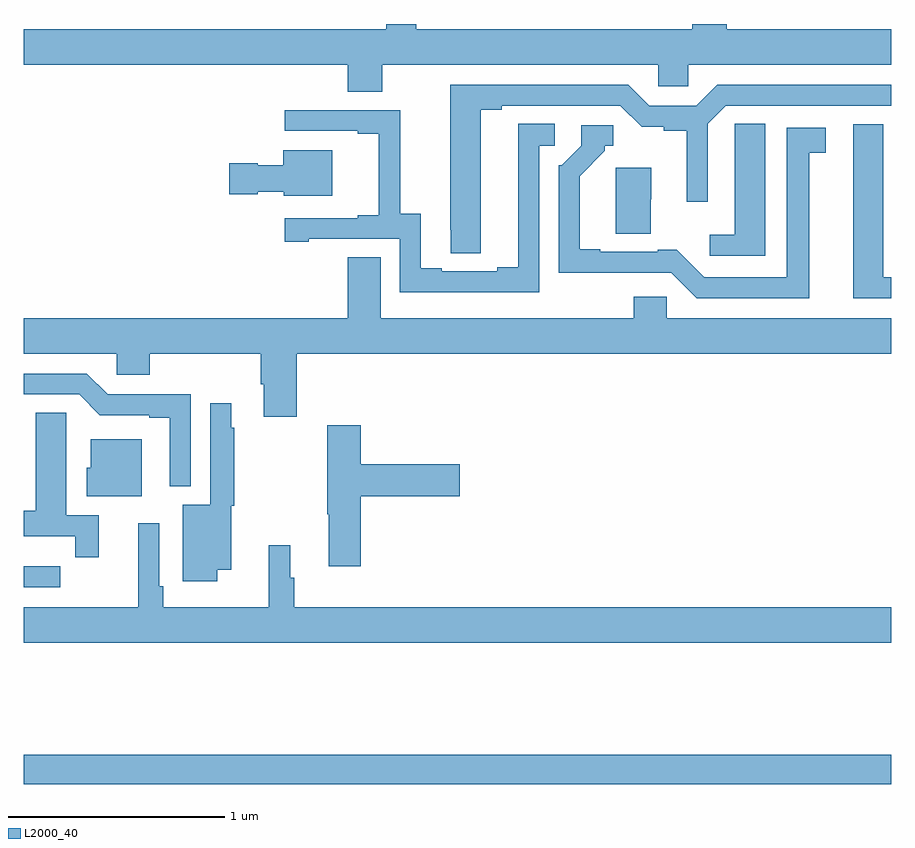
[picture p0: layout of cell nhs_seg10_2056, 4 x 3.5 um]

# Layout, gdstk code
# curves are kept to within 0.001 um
import gdstk
lib = gdstk.Library(unit=1e-6, precision=1e-09)
def R(c, l, rs):  # rectangles x0, y0, x1, y1
    for r in rs: c.add(gdstk.rectangle(r[:2], r[2:], *l))
def P(c, l, *ps):  # polygons
    for p in ps: c.add(gdstk.Polygon(p, *l))
L2000_40 = (2000, 40)

nhs_seg10_2056 = lib.new_cell('nhs_seg10_2056')
R(nhs_seg10_2056, L2000_40, [(219,1300.996,223,1301.132)])
P(nhs_seg10_2056, L2000_40, [(220.653,1304.312),(221.925,1304.312),(221.925,1304.214),(222.063,1304.214),(222.063,1304.312),(223,1304.312),(223,1304.476),(222.242,1304.476),(222.242,1304.5),(222.082,1304.5),(222.082,1304.476),(220.809,1304.476),(220.809,1304.5),(220.671,1304.5),(220.671,1304.476),(219,1304.476),(219,1304.312),(220.493,1304.312),(220.493,1304.188),(220.653,1304.188)],
  [(221.107,1304.104),(221.203,1304.104),(221.203,1304.124),(221.751,1304.124),(221.849,1304.027),(221.952,1304.027),(221.952,1304.008),(222.056,1304.008),(222.056,1303.68),(222.153,1303.68),(222.153,1304.04),(222.237,1304.124),(223,1304.124),(223,1304.22),(222.197,1304.22),(222.101,1304.124),(221.883,1304.124),(221.787,1304.22),(220.967,1304.22),(220.968,1303.444),(221.107,1303.444)],
  [(221.376,1303.938),(221.449,1303.938),(221.449,1304.039),(221.279,1304.039),(221.279,1303.379),(221.183,1303.379),(221.183,1303.359),(220.927,1303.359),(220.927,1303.374),(220.831,1303.374),(220.831,1303.625),(220.737,1303.625),(220.737,1304.103),(220.203,1304.103),(220.203,1304.007),(220.541,1304.007),(220.541,1303.995),(220.637,1303.995),(220.637,1303.618),(220.541,1303.618),(220.541,1303.605),(220.203,1303.605),(220.203,1303.497),(220.315,1303.497),(220.315,1303.509),(220.734,1303.509),(220.734,1303.263),(221.376,1303.263)],
  [(222.418,1304.039),(222.279,1304.039),(222.279,1303.931),(222.278,1303.931),(222.278,1303.528),(222.162,1303.528),(222.162,1303.431),(222.418,1303.431)],
  [(223,1303.332),(222.964,1303.332),(222.964,1304.038),(222.824,1304.038),(222.824,1303.236),(223,1303.236)],
  [(222.622,1303.906),(222.697,1303.906),(222.697,1304.022),(222.518,1304.022),(222.518,1303.332),(222.138,1303.332),(222.01,1303.46),(221.924,1303.46),(221.924,1303.449),(221.659,1303.449),(221.659,1303.462),(221.563,1303.462),(221.563,1303.798),(221.68,1303.915),(221.68,1303.938),(221.719,1303.938),(221.719,1304.034),(221.571,1304.034),(221.571,1303.938),(221.481,1303.848),(221.466,1303.848),(221.466,1303.352),(221.985,1303.353),(222.102,1303.236),(222.622,1303.236)],
  [(220.423,1303.918),(220.196,1303.918),(220.196,1303.849),(220.08,1303.849),(220.08,1303.857),(219.948,1303.857),(219.948,1303.715),(220.08,1303.715),(220.08,1303.727),(220.2,1303.727),(220.2,1303.709),(220.423,1303.709)],
  [(221.892,1303.692),(221.893,1303.692),(221.893,1303.837),(221.729,1303.837),(221.729,1303.534),(221.892,1303.534)],
  [(220.259,1302.98),(223,1302.98),(223,1303.144),(221.964,1303.144),(221.964,1303.242),(221.813,1303.242),(221.813,1303.144),(220.645,1303.144),(220.645,1303.424),(220.493,1303.424),(220.493,1303.144),(219,1303.144),(219,1302.98),(219.429,1302.98),(219.429,1302.882),(219.581,1302.882),(219.581,1302.98),(220.094,1302.98),(220.094,1302.838),(220.106,1302.838),(220.106,1302.69),(220.259,1302.69)],
  [(219.771,1302.792),(219.387,1302.792),(219.291,1302.888),(219,1302.888),(219,1302.792),(219.255,1302.792),(219.351,1302.696),(219.578,1302.696),(219.578,1302.684),(219.674,1302.684),(219.674,1302.368),(219.771,1302.368)],
  [(219.892,1301.984),(219.958,1301.984),(219.958,1302.279),(219.97,1302.279),(219.97,1302.638),(219.958,1302.638),(219.958,1302.751),(219.861,1302.751),(219.861,1302.283),(219.734,1302.283),(219.734,1301.931),(219.892,1301.931)],
  [(219.347,1302.234),(219.196,1302.234),(219.196,1302.596),(219.195,1302.596),(219.195,1302.707),(219.056,1302.707),(219.056,1302.255),(219,1302.255),(219,1302.138),(219.238,1302.138),(219.238,1302.042),(219.347,1302.042)],
  [(220.553,1302.323),(221.011,1302.323),(221.011,1302.47),(220.553,1302.47),(220.553,1302.649),(220.399,1302.649),(220.399,1302.239),(220.406,1302.239),(220.406,1302),(220.553,1302)],
  [(219.544,1302.586),(219.308,1302.586),(219.308,1302.453),(219.29,1302.453),(219.29,1302.323),(219.544,1302.323)],
  [(223,1301.812),(220.247,1301.812),(220.247,1301.946),(220.228,1301.946),(220.228,1302.097),(220.129,1302.097),(220.129,1301.812),(219.644,1301.812),(219.644,1301.908),(219.624,1301.908),(219.624,1302.199),(219.527,1302.199),(219.527,1301.812),(219,1301.812),(219,1301.648),(223,1301.648)],
  [(219.169,1302),(219.056,1302),(219.056,1302.001),(219,1302.001),(219,1301.904),(219.169,1301.904)])

lib.write_gds('nhs_seg10_2056.gds')
